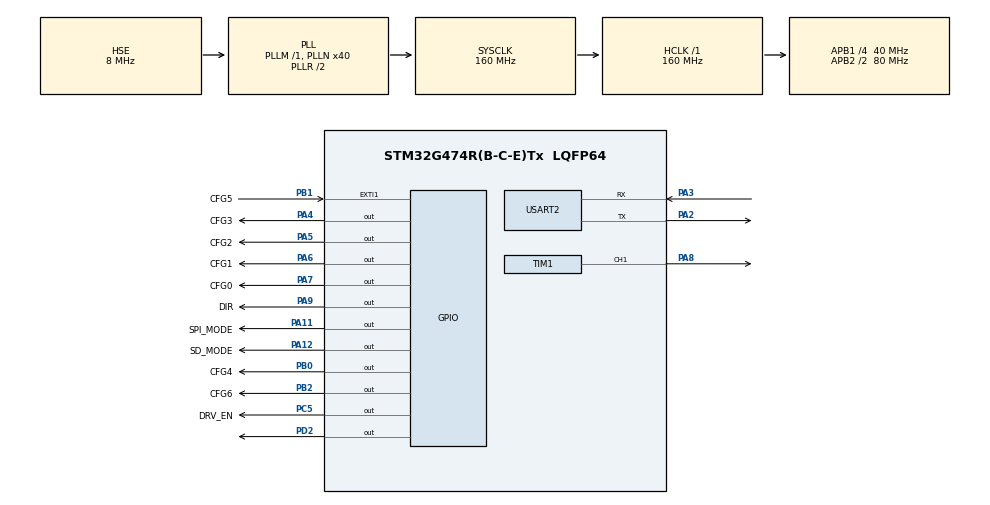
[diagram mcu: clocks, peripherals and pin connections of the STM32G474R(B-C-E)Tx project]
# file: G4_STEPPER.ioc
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Mcu.Family=STM32G4
Mcu.Name=STM32G474R(B-C-E)Tx
Mcu.Package=LQFP64
NVIC.PriorityGroup=NVIC_PRIORITYGROUP_4
NVIC.USART2_IRQn=true\:0\:0\:false\:false\:true\:true\:true\:true
PA11.GPIO_Label=SPI_MODE
PA11.Signal=GPIO_Output
PA12.GPIO_Label=SD_MODE
PA12.Signal=GPIO_Output
PA2.Mode=Asynchronous
PA2.Signal=USART2_TX
PA3.Mode=Asynchronous
PA3.Signal=USART2_RX
PA4.GPIO_Label=CFG3
PA4.Signal=GPIO_Output
PA5.GPIO_Label=CFG2
PA5.Signal=GPIO_Output
PA6.GPIO_Label=CFG1
PA6.Signal=GPIO_Output
PA7.GPIO_Label=CFG0
PA7.Signal=GPIO_Output
PA8.Signal=S_TIM1_CH1
PA9.GPIO_Label=DIR
PA9.Signal=GPIO_Output
PB0.GPIO_Label=CFG4
PB0.Signal=GPIO_Output
PB1.GPIO_Label=CFG5
PB1.Signal=GPXTI1
PB2.GPIO_Label=CFG6
PB2.Signal=GPIO_Output
PC5.GPIO_Label=DRV_EN
PC5.Signal=GPIO_Output
PD2.Signal=GPIO_Output
PF0-OSC_IN.Mode=HSE-External-Oscillator
PF0-OSC_IN.Signal=RCC_OSC_IN
PF1-OSC_OUT.Mode=HSE-External-Oscillator
PF1-OSC_OUT.Signal=RCC_OSC_OUT
ProjectManager.HeapSize=0x200
ProjectManager.StackSize=0x400
ProjectManager.TargetToolchain=STM32CubeIDE
RCC.ADC12Freq_Value=160000000
RCC.ADC345Freq_Value=160000000
RCC.AHBFreq_Value=160000000
RCC.APB1CLKDivider=RCC_HCLK_DIV4
RCC.APB1Freq_Value=40000000
RCC.APB1TimFreq_Value=80000000
RCC.APB2CLKDivider=RCC_HCLK_DIV2
RCC.APB2Freq_Value=80000000
RCC.APB2TimFreq_Value=160000000
RCC.CortexFreq_Value=160000000
RCC.EXTERNAL_CLOCK_VALUE=12288000
RCC.HCLKFreq_Value=160000000
RCC.HSE_VALUE=8000000
RCC.HSI48_VALUE=48000000
RCC.HSI_VALUE=16000000
RCC.LSE_VALUE=32768
RCC.PLLN=40
RCC.PLLSourceVirtual=RCC_PLLSOURCE_HSE
RCC.SYSCLKFreq_VALUE=160000000
RCC.SYSCLKSource=RCC_SYSCLKSOURCE_PLLCLK
RCC.USBFreq_Value=160000000
RCC.VCOOutputFreq_Value=320000000
SH.S_TIM1_CH1.0=TIM1_CH1,PWM Generation1 CH1
TIM1.Channel-Output\ Compare2\ No\ Output=TIM_CHANNEL_2
TIM1.Channel-PWM\ Generation1\ CH1=TIM_CHANNEL_1
TIM1.OCMode_PWM-PWM\ Generation1\ CH1=TIM_OCMODE_PWM2
TIM1.PeriodNoDither=100
TIM1.Prescaler=1599
USART2.VirtualMode-Asynchronous=VM_ASYNC
VP_TIM1_VS_no_output2.Mode=Output Compare2 No Output
board=custom

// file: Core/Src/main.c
/* USER CODE BEGIN Header */
/**
  ******************************************************************************
  * @file           : main.c
  * @brief          : Main program body
  ******************************************************************************
  * @attention
  *
  * Copyright (c) 2023 STMicroelectronics.
  * All rights reserved.
  *
  * This software is licensed under terms that can be found in the LICENSE file
  * in the root directory of this software component.
  * If no LICENSE file comes with this software, it is provided AS-IS.
  *
  ******************************************************************************
  */
/* USER CODE END Header */
#include "main.h"
#include "tim.h"
#include "usart.h"
#include "gpio.h"

void SystemClock_Config(void);
/* USER CODE BEGIN PFP */
void AngularSpeedToTimerPWMParametrs(uint16_t w); //w - angular speed = 0.01 radian per second 1
/*
 * Limits for w  (10<w<100)
 */
/* USER CODE END PFP */

int main(void)
{

  /* MCU Configuration--------------------------------------------------------*/

  /* Reset of all peripherals, Initializes the Flash interface and the Systick. */
  HAL_Init();

  /* Configure the system clock */
  SystemClock_Config();

  /* Initialize all configured peripherals */
  MX_GPIO_Init();
  MX_USART2_UART_Init();
  MX_TIM1_Init();
  /* USER CODE BEGIN 2 */
  //Config via pins see p.116 of TMC5160 datasheet
  HAL_GPIO_WritePin(GPIOC, GPIO_PIN_5, 1); //DRV SLEEP 0 for power on, 1 for power off

  HAL_GPIO_WritePin(GPIOA, GPIO_PIN_12, GPIO_PIN_SET); //SD_MODE ON
  HAL_GPIO_WritePin(GPIOA, GPIO_PIN_11, GPIO_PIN_RESET); //SPI_MODE OFF
  HAL_Delay(100); //Sanity delay

  //64 microsteps, MRES=5
  HAL_GPIO_WritePin(CFG0_GPIO_Port, CFG0_Pin, GPIO_PIN_SET); //CFG0
  HAL_GPIO_WritePin(CFG1_GPIO_Port, CFG1_Pin, GPIO_PIN_SET); //CFG1
  /*
  CFG1   CFG0    Microstep Setting
  GND    GND     8 microsteps, MRES=5
  GND    VCC_IO  16 microsteps, MRES=4
  VCC_IO GND     32 microsteps, MRES=3
  VCC_IO VCC_IO  64 microsteps, MRES=2
  */

  //IRUN=16
  HAL_GPIO_WritePin(CFG2_GPIO_Port, CFG2_Pin, GPIO_PIN_RESET); //CFG2
  HAL_GPIO_WritePin(CFG3_GPIO_Port, CFG3_Pin, GPIO_PIN_RESET); //CFG3
  HAL_GPIO_WritePin(CFG4_GPIO_Port, CFG4_Pin, GPIO_PIN_RESET); //CFG4
  /*
   CFG4/CFG3/CFG2: CONFIGURATION OF RUN CURRENT
	CFG4   CFG3     CFG2   IRUN Setting
	GND     GND     GND    IRUN=16
	GND     GND     VCC_IO IRUN=18
	GND     VCC_IO  GND    IRUN=20
	GND     VCC_IO  VCC_IO IRUN=22
	VCC_IO  GND     GND    IRUN=24
	VCC_IO  GND     VCC_IO IRUN=26
	VCC_IO  VCC_IO  GND    IRUN=28
	VCC_IO  VCC_IO  VCC_IO IRUN=31
   */

  //StealthChop operation
  HAL_GPIO_WritePin(CFG5_GPIO_Port, CFG5_Pin, GPIO_PIN_RESET); //CFG5
  /*
   CFG5: SELECTION OF CHOPPER MODE
   CFG5 Chopper Setting
   GND SpreadCycle operation. (TOFF=3)
   VCC_IO StealthChop operation. (GCONF.en_PWM_mode=1)
   */

  //IHOLD Reduction to 50%. IHOLD=1/2 IRUN
  HAL_GPIO_WritePin(CFG6_GPIO_Port, CFG6_Pin, GPIO_PIN_SET); //CFG6
  /*
  CFG6: CONFIGURATION OF HOLD CURRENT REDUCTION
	CFG6 	Chopper Setting
	GND 	No hold current reduction. IHOLD=IRUN
	VCC_IO 	Reduction to 50%. IHOLD=1/2 IRUN
  */

  HAL_Delay(1000); //sanity delay

  HAL_GPIO_WritePin(GPIOA, GPIO_PIN_9, 0); //DIR
  HAL_GPIO_WritePin(GPIOC, GPIO_PIN_5, 0); //DRV Enable 0 for power on, 1 for power off
  /* USER CODE END 2 */

  /* Infinite loop */
  /* USER CODE BEGIN WHILE */
  //Start timer
  HAL_TIM_Base_Start(&htim1);
  //Start timer PWM
  HAL_TIM_PWM_Start(&htim1, TIM_CHANNEL_1);

  //setting the speed of rotation
  uint8_t speed = 100; //  * 0.01 rad / sec
  //timer settings
  AngularSpeedToTimerPWMParametrs(speed);

  while (1)
  {
	  uint8_t str[50];
	  sprintf(str,"Rotating %d * 0.01 rad / sec \r\n\0", speed);
	  HAL_UART_Transmit_IT(&huart2, str, sizeof(str));
	  HAL_Delay(100);
    /* USER CODE END WHILE */

  }
}

void SystemClock_Config(void)
{
  RCC_OscInitTypeDef RCC_OscInitStruct = {0};
  RCC_ClkInitTypeDef RCC_ClkInitStruct = {0};

  /** Configure the main internal regulator output voltage
  */
  HAL_PWREx_ControlVoltageScaling(PWR_REGULATOR_VOLTAGE_SCALE1_BOOST);

  /** Initializes the RCC Oscillators according to the specified parameters
  * in the RCC_OscInitTypeDef structure.
  */
  RCC_OscInitStruct.OscillatorType = RCC_OSCILLATORTYPE_HSE;
  RCC_OscInitStruct.HSEState = RCC_HSE_ON;
  RCC_OscInitStruct.PLL.PLLState = RCC_PLL_ON;
  RCC_OscInitStruct.PLL.PLLSource = RCC_PLLSOURCE_HSE;
  RCC_OscInitStruct.PLL.PLLM = RCC_PLLM_DIV1;
  RCC_OscInitStruct.PLL.PLLN = 40;
  RCC_OscInitStruct.PLL.PLLP = RCC_PLLP_DIV2;
  RCC_OscInitStruct.PLL.PLLQ = RCC_PLLQ_DIV2;
  RCC_OscInitStruct.PLL.PLLR = RCC_PLLR_DIV2;
  if (HAL_RCC_OscConfig(&RCC_OscInitStruct) != HAL_OK)
  {
    Error_Handler();
  }

  /** Initializes the CPU, AHB and APB buses clocks
  */
  RCC_ClkInitStruct.ClockType = RCC_CLOCKTYPE_HCLK|RCC_CLOCKTYPE_SYSCLK
                              |RCC_CLOCKTYPE_PCLK1|RCC_CLOCKTYPE_PCLK2;
  RCC_ClkInitStruct.SYSCLKSource = RCC_SYSCLKSOURCE_PLLCLK;
  RCC_ClkInitStruct.AHBCLKDivider = RCC_SYSCLK_DIV1;
  RCC_ClkInitStruct.APB1CLKDivider = RCC_HCLK_DIV4;
  RCC_ClkInitStruct.APB2CLKDivider = RCC_HCLK_DIV2;

  if (HAL_RCC_ClockConfig(&RCC_ClkInitStruct, FLASH_LATENCY_4) != HAL_OK)
  {
    Error_Handler();
  }
}

/* USER CODE BEGIN 4 */
void AngularSpeedToTimerPWMParametrs(uint16_t w)
{

int step_duration = 0;
step_duration = (int)((100 / w) * 100); //100 total duration of UP + DOWN of STEP
TIM1->PSC = 15;
TIM1->ARR = step_duration;
TIM1->CCR1 = 40; // 40 is min duration of UP of STEP
}

/* USER CODE END 4 */

void Error_Handler(void)
{
  __disable_irq();
  while (1)
  {
  }
}
